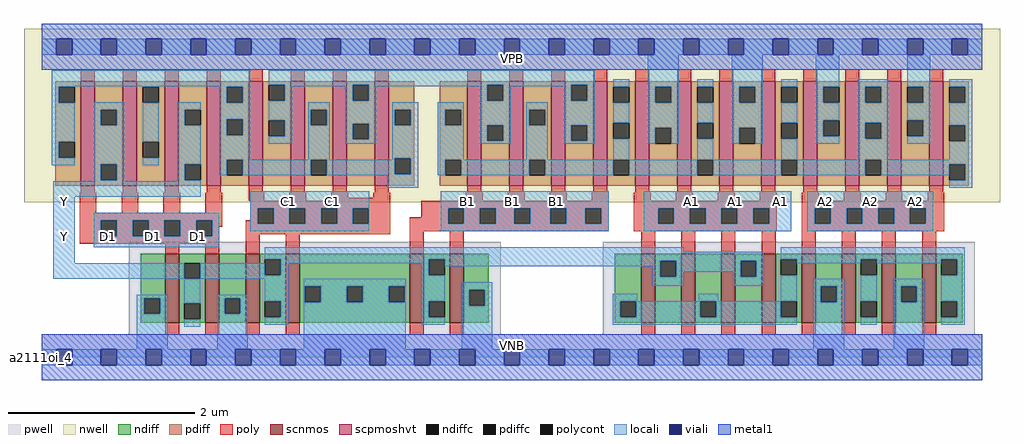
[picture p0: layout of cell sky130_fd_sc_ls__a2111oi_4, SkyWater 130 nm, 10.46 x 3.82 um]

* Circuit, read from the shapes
.subckt sky130_fd_sc_ls__a2111oi_4 A1 A2 B1 C1 D1 VGND VNB VPB VPWR Y
XM1 Y D1 VGND VNB sky130_fd_pr__nfet_01v8 w=0.74 l=0.15 m=2
XM2 Y C1 VGND VNB sky130_fd_pr__nfet_01v8 w=0.74 l=0.15 m=2
XM3 Y B1 VGND VNB sky130_fd_pr__nfet_01v8 w=0.74 l=0.15 m=2
XM4 Y A1 n1 VNB sky130_fd_pr__nfet_01v8 w=0.74 l=0.15 m=4
XM5 VGND A2 n1 VNB sky130_fd_pr__nfet_01v8 w=0.74 l=0.15 m=4
XM6 Y D1 n2 VPB sky130_fd_pr__pfet_01v8_hvt w=1.12 l=0.15 m=4
XM7 n3 C1 n2 VPB sky130_fd_pr__pfet_01v8_hvt w=1.12 l=0.15 m=4
XM8 n3 B1 n4 VPB sky130_fd_pr__pfet_01v8_hvt w=1.12 l=0.15 m=4
XM9 VPWR A1 n4 VPB sky130_fd_pr__pfet_01v8_hvt w=1.12 l=0.15 m=4
XM10 VPWR A2 n4 VPB sky130_fd_pr__pfet_01v8_hvt w=1.12 l=0.15 m=4
.ends

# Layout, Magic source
magic
tech sky130A
magscale 1 2
<< nwell >>
rect -38 332 2054 704
<< pwell >>
rect 186 49 984 248
rect 1202 49 2000 248
rect 0 0 2016 49
<< scnmos >>
rect 265 74 295 222
rect 351 74 381 222
rect 437 74 467 222
rect 523 74 553 222
rect 789 74 819 222
rect 875 74 905 222
rect 1285 74 1315 222
rect 1371 74 1401 222
rect 1457 74 1487 222
rect 1543 74 1573 222
rect 1629 74 1659 222
rect 1715 74 1745 222
rect 1801 74 1831 222
rect 1887 74 1917 222
<< scpmoshvt >>
rect 84 368 114 592
rect 174 368 204 592
rect 264 368 294 592
rect 354 368 384 592
rect 444 368 474 592
rect 534 368 564 592
rect 624 368 654 592
rect 714 368 744 592
rect 912 368 942 592
rect 1002 368 1032 592
rect 1092 368 1122 592
rect 1182 368 1212 592
rect 1272 368 1302 592
rect 1362 368 1392 592
rect 1452 368 1482 592
rect 1542 368 1572 592
rect 1632 368 1662 592
rect 1722 368 1752 592
rect 1812 368 1842 592
rect 1902 368 1932 592
<< ndiff >>
rect 212 127 265 222
rect 212 93 220 127
rect 254 93 265 127
rect 212 74 265 93
rect 295 202 351 222
rect 295 168 306 202
rect 340 168 351 202
rect 295 116 351 168
rect 295 82 306 116
rect 340 82 351 116
rect 295 74 351 82
rect 381 127 437 222
rect 381 93 392 127
rect 426 93 437 127
rect 381 74 437 93
rect 467 210 523 222
rect 467 176 478 210
rect 512 176 523 210
rect 467 120 523 176
rect 467 86 478 120
rect 512 86 523 120
rect 467 74 523 86
rect 553 152 789 222
rect 553 118 564 152
rect 598 118 654 152
rect 688 118 744 152
rect 778 118 789 152
rect 553 74 789 118
rect 819 210 875 222
rect 819 176 830 210
rect 864 176 875 210
rect 819 120 875 176
rect 819 86 830 120
rect 864 86 875 120
rect 819 74 875 86
rect 905 145 958 222
rect 905 111 916 145
rect 950 111 958 145
rect 905 74 958 111
rect 1228 120 1285 222
rect 1228 86 1240 120
rect 1274 86 1285 120
rect 1228 74 1285 86
rect 1315 207 1371 222
rect 1315 173 1326 207
rect 1360 173 1371 207
rect 1315 74 1371 173
rect 1401 120 1457 222
rect 1401 86 1412 120
rect 1446 86 1457 120
rect 1401 74 1457 86
rect 1487 207 1543 222
rect 1487 173 1498 207
rect 1532 173 1543 207
rect 1487 74 1543 173
rect 1573 210 1629 222
rect 1573 176 1584 210
rect 1618 176 1629 210
rect 1573 120 1629 176
rect 1573 86 1584 120
rect 1618 86 1629 120
rect 1573 74 1629 86
rect 1659 152 1715 222
rect 1659 118 1670 152
rect 1704 118 1715 152
rect 1659 74 1715 118
rect 1745 210 1801 222
rect 1745 176 1756 210
rect 1790 176 1801 210
rect 1745 120 1801 176
rect 1745 86 1756 120
rect 1790 86 1801 120
rect 1745 74 1801 86
rect 1831 152 1887 222
rect 1831 118 1842 152
rect 1876 118 1887 152
rect 1831 74 1887 118
rect 1917 210 1974 222
rect 1917 176 1928 210
rect 1962 176 1974 210
rect 1917 120 1974 176
rect 1917 86 1928 120
rect 1962 86 1974 120
rect 1917 74 1974 86
<< pdiff >>
rect 29 580 84 592
rect 29 546 37 580
rect 71 546 84 580
rect 29 462 84 546
rect 29 428 37 462
rect 71 428 84 462
rect 29 368 84 428
rect 114 531 174 592
rect 114 497 127 531
rect 161 497 174 531
rect 114 414 174 497
rect 114 380 127 414
rect 161 380 174 414
rect 114 368 174 380
rect 204 580 264 592
rect 204 546 217 580
rect 251 546 264 580
rect 204 462 264 546
rect 204 428 217 462
rect 251 428 264 462
rect 204 368 264 428
rect 294 531 354 592
rect 294 497 307 531
rect 341 497 354 531
rect 294 414 354 497
rect 294 380 307 414
rect 341 380 354 414
rect 294 368 354 380
rect 384 580 444 592
rect 384 546 397 580
rect 431 546 444 580
rect 384 510 444 546
rect 384 476 397 510
rect 431 476 444 510
rect 384 424 444 476
rect 384 390 397 424
rect 431 390 444 424
rect 384 368 444 390
rect 474 584 534 592
rect 474 550 487 584
rect 521 550 534 584
rect 474 508 534 550
rect 474 474 487 508
rect 521 474 534 508
rect 474 368 534 474
rect 564 531 624 592
rect 564 497 577 531
rect 611 497 624 531
rect 564 424 624 497
rect 564 390 577 424
rect 611 390 624 424
rect 564 368 624 390
rect 654 584 714 592
rect 654 550 667 584
rect 701 550 714 584
rect 654 501 714 550
rect 654 467 667 501
rect 701 467 714 501
rect 654 368 714 467
rect 744 531 799 592
rect 744 497 757 531
rect 791 497 799 531
rect 744 427 799 497
rect 744 393 757 427
rect 791 393 799 427
rect 744 368 799 393
rect 853 531 912 592
rect 853 497 865 531
rect 899 497 912 531
rect 853 424 912 497
rect 853 390 865 424
rect 899 390 912 424
rect 853 368 912 390
rect 942 584 1002 592
rect 942 550 955 584
rect 989 550 1002 584
rect 942 498 1002 550
rect 942 464 955 498
rect 989 464 1002 498
rect 942 368 1002 464
rect 1032 531 1092 592
rect 1032 497 1045 531
rect 1079 497 1092 531
rect 1032 424 1092 497
rect 1032 390 1045 424
rect 1079 390 1092 424
rect 1032 368 1092 390
rect 1122 584 1182 592
rect 1122 550 1135 584
rect 1169 550 1182 584
rect 1122 498 1182 550
rect 1122 464 1135 498
rect 1169 464 1182 498
rect 1122 368 1182 464
rect 1212 580 1272 592
rect 1212 546 1225 580
rect 1259 546 1272 580
rect 1212 503 1272 546
rect 1212 469 1225 503
rect 1259 469 1272 503
rect 1212 424 1272 469
rect 1212 390 1225 424
rect 1259 390 1272 424
rect 1212 368 1272 390
rect 1302 580 1362 592
rect 1302 546 1315 580
rect 1349 546 1362 580
rect 1302 492 1362 546
rect 1302 458 1315 492
rect 1349 458 1362 492
rect 1302 368 1362 458
rect 1392 580 1452 592
rect 1392 546 1405 580
rect 1439 546 1452 580
rect 1392 503 1452 546
rect 1392 469 1405 503
rect 1439 469 1452 503
rect 1392 424 1452 469
rect 1392 390 1405 424
rect 1439 390 1452 424
rect 1392 368 1452 390
rect 1482 580 1542 592
rect 1482 546 1495 580
rect 1529 546 1542 580
rect 1482 492 1542 546
rect 1482 458 1495 492
rect 1529 458 1542 492
rect 1482 368 1542 458
rect 1572 580 1632 592
rect 1572 546 1585 580
rect 1619 546 1632 580
rect 1572 503 1632 546
rect 1572 469 1585 503
rect 1619 469 1632 503
rect 1572 424 1632 469
rect 1572 390 1585 424
rect 1619 390 1632 424
rect 1572 368 1632 390
rect 1662 580 1722 592
rect 1662 546 1675 580
rect 1709 546 1722 580
rect 1662 508 1722 546
rect 1662 474 1675 508
rect 1709 474 1722 508
rect 1662 368 1722 474
rect 1752 580 1812 592
rect 1752 546 1765 580
rect 1799 546 1812 580
rect 1752 503 1812 546
rect 1752 469 1765 503
rect 1799 469 1812 503
rect 1752 424 1812 469
rect 1752 390 1765 424
rect 1799 390 1812 424
rect 1752 368 1812 390
rect 1842 580 1902 592
rect 1842 546 1855 580
rect 1889 546 1902 580
rect 1842 508 1902 546
rect 1842 474 1855 508
rect 1889 474 1902 508
rect 1842 368 1902 474
rect 1932 580 1987 592
rect 1932 546 1945 580
rect 1979 546 1987 580
rect 1932 497 1987 546
rect 1932 463 1945 497
rect 1979 463 1987 497
rect 1932 414 1987 463
rect 1932 380 1945 414
rect 1979 380 1987 414
rect 1932 368 1987 380
<< ndiffc >>
rect 220 93 254 127
rect 306 168 340 202
rect 306 82 340 116
rect 392 93 426 127
rect 478 176 512 210
rect 478 86 512 120
rect 564 118 598 152
rect 654 118 688 152
rect 744 118 778 152
rect 830 176 864 210
rect 830 86 864 120
rect 916 111 950 145
rect 1240 86 1274 120
rect 1326 173 1360 207
rect 1412 86 1446 120
rect 1498 173 1532 207
rect 1584 176 1618 210
rect 1584 86 1618 120
rect 1670 118 1704 152
rect 1756 176 1790 210
rect 1756 86 1790 120
rect 1842 118 1876 152
rect 1928 176 1962 210
rect 1928 86 1962 120
<< pdiffc >>
rect 37 546 71 580
rect 37 428 71 462
rect 127 497 161 531
rect 127 380 161 414
rect 217 546 251 580
rect 217 428 251 462
rect 307 497 341 531
rect 307 380 341 414
rect 397 546 431 580
rect 397 476 431 510
rect 397 390 431 424
rect 487 550 521 584
rect 487 474 521 508
rect 577 497 611 531
rect 577 390 611 424
rect 667 550 701 584
rect 667 467 701 501
rect 757 497 791 531
rect 757 393 791 427
rect 865 497 899 531
rect 865 390 899 424
rect 955 550 989 584
rect 955 464 989 498
rect 1045 497 1079 531
rect 1045 390 1079 424
rect 1135 550 1169 584
rect 1135 464 1169 498
rect 1225 546 1259 580
rect 1225 469 1259 503
rect 1225 390 1259 424
rect 1315 546 1349 580
rect 1315 458 1349 492
rect 1405 546 1439 580
rect 1405 469 1439 503
rect 1405 390 1439 424
rect 1495 546 1529 580
rect 1495 458 1529 492
rect 1585 546 1619 580
rect 1585 469 1619 503
rect 1585 390 1619 424
rect 1675 546 1709 580
rect 1675 474 1709 508
rect 1765 546 1799 580
rect 1765 469 1799 503
rect 1765 390 1799 424
rect 1855 546 1889 580
rect 1855 474 1889 508
rect 1945 546 1979 580
rect 1945 463 1979 497
rect 1945 380 1979 414
<< poly >>
rect 84 592 114 618
rect 174 592 204 618
rect 264 592 294 618
rect 354 592 384 618
rect 444 592 474 618
rect 534 592 564 618
rect 624 592 654 618
rect 714 592 744 618
rect 912 592 942 618
rect 1002 592 1032 618
rect 1092 592 1122 618
rect 1182 592 1212 618
rect 1272 592 1302 618
rect 1362 592 1392 618
rect 1452 592 1482 618
rect 1542 592 1572 618
rect 1632 592 1662 618
rect 1722 592 1752 618
rect 1812 592 1842 618
rect 1902 592 1932 618
rect 84 353 114 368
rect 174 353 204 368
rect 264 353 294 368
rect 354 353 384 368
rect 444 353 474 368
rect 534 353 564 368
rect 624 353 654 368
rect 714 353 744 368
rect 912 353 942 368
rect 1002 353 1032 368
rect 1092 353 1122 368
rect 1182 353 1212 368
rect 1272 353 1302 368
rect 1362 353 1392 368
rect 1452 353 1482 368
rect 1542 353 1572 368
rect 1632 353 1662 368
rect 1722 353 1752 368
rect 1812 353 1842 368
rect 1902 353 1932 368
rect 81 310 117 353
rect 171 310 207 353
rect 261 310 297 353
rect 351 310 387 353
rect 444 336 477 353
rect 531 336 567 353
rect 621 342 657 353
rect 711 342 747 353
rect 621 336 747 342
rect 909 336 945 353
rect 999 336 1035 353
rect 1089 336 1125 353
rect 1179 336 1215 353
rect 81 294 387 310
rect 447 320 747 336
rect 447 294 463 320
rect 81 260 127 294
rect 161 260 195 294
rect 229 260 263 294
rect 297 260 331 294
rect 365 280 387 294
rect 437 286 463 294
rect 497 286 531 320
rect 565 286 599 320
rect 633 286 667 320
rect 701 286 747 320
rect 814 320 1215 336
rect 814 300 871 320
rect 365 260 381 280
rect 81 244 381 260
rect 265 222 295 244
rect 351 222 381 244
rect 437 264 747 286
rect 789 286 871 300
rect 905 286 939 320
rect 973 286 1013 320
rect 1047 286 1090 320
rect 1124 286 1165 320
rect 1199 286 1215 320
rect 789 270 1215 286
rect 1269 336 1305 353
rect 1359 336 1395 353
rect 1449 336 1485 353
rect 1539 336 1575 353
rect 1269 320 1575 336
rect 1269 286 1321 320
rect 1355 286 1389 320
rect 1423 286 1457 320
rect 1491 286 1525 320
rect 1559 286 1575 320
rect 1269 270 1575 286
rect 1629 336 1665 353
rect 1719 336 1755 353
rect 1809 336 1845 353
rect 1899 336 1935 353
rect 1629 320 1935 336
rect 1629 286 1657 320
rect 1691 286 1725 320
rect 1759 286 1793 320
rect 1827 286 1861 320
rect 1895 286 1935 320
rect 1629 270 1935 286
rect 437 222 467 264
rect 523 222 553 264
rect 789 222 819 270
rect 875 222 905 270
rect 1285 222 1315 270
rect 1371 222 1401 270
rect 1457 222 1487 270
rect 1543 222 1573 270
rect 1629 222 1659 270
rect 1715 222 1745 270
rect 1801 222 1831 270
rect 1887 222 1917 270
rect 265 48 295 74
rect 351 48 381 74
rect 437 48 467 74
rect 523 48 553 74
rect 789 48 819 74
rect 875 48 905 74
rect 1285 48 1315 74
rect 1371 48 1401 74
rect 1457 48 1487 74
rect 1543 48 1573 74
rect 1629 48 1659 74
rect 1715 48 1745 74
rect 1801 48 1831 74
rect 1887 48 1917 74
<< polycont >>
rect 127 260 161 294
rect 195 260 229 294
rect 263 260 297 294
rect 331 260 365 294
rect 463 286 497 320
rect 531 286 565 320
rect 599 286 633 320
rect 667 286 701 320
rect 871 286 905 320
rect 939 286 973 320
rect 1013 286 1047 320
rect 1090 286 1124 320
rect 1165 286 1199 320
rect 1321 286 1355 320
rect 1389 286 1423 320
rect 1457 286 1491 320
rect 1525 286 1559 320
rect 1657 286 1691 320
rect 1725 286 1759 320
rect 1793 286 1827 320
rect 1861 286 1895 320
<< locali >>
rect 0 649 31 683
rect 65 649 127 683
rect 161 649 223 683
rect 257 649 319 683
rect 353 649 415 683
rect 449 649 511 683
rect 545 649 607 683
rect 641 649 703 683
rect 737 649 799 683
rect 833 649 895 683
rect 929 649 991 683
rect 1025 649 1087 683
rect 1121 649 1183 683
rect 1217 649 1279 683
rect 1313 649 1375 683
rect 1409 649 1471 683
rect 1505 649 1567 683
rect 1601 649 1663 683
rect 1697 649 1759 683
rect 1793 649 1855 683
rect 1889 649 1951 683
rect 1985 649 2016 683
rect 21 581 447 615
rect 21 580 71 581
rect 21 546 37 580
rect 217 580 251 581
rect 21 462 71 546
rect 21 428 37 462
rect 21 412 71 428
rect 111 531 177 547
rect 111 497 127 531
rect 161 497 177 531
rect 111 414 177 497
rect 111 380 127 414
rect 161 380 177 414
rect 381 580 447 581
rect 217 462 251 546
rect 217 412 251 428
rect 291 531 341 547
rect 291 497 307 531
rect 291 414 341 497
rect 111 378 177 380
rect 291 380 307 414
rect 381 546 397 580
rect 431 546 447 580
rect 381 510 447 546
rect 381 476 397 510
rect 431 476 447 510
rect 381 424 447 476
rect 487 584 1185 615
rect 521 581 667 584
rect 521 550 537 581
rect 487 508 537 550
rect 651 550 667 581
rect 701 581 955 584
rect 701 550 717 581
rect 521 474 537 508
rect 487 458 537 474
rect 571 531 617 547
rect 571 497 577 531
rect 611 497 617 531
rect 571 424 617 497
rect 651 501 717 550
rect 939 550 955 581
rect 989 581 1135 584
rect 989 550 1005 581
rect 651 467 667 501
rect 701 467 717 501
rect 651 458 717 467
rect 751 531 807 547
rect 751 497 757 531
rect 791 497 807 531
rect 751 427 807 497
rect 751 424 757 427
rect 381 390 397 424
rect 431 390 577 424
rect 611 393 757 424
rect 791 393 807 427
rect 611 390 807 393
rect 849 531 905 547
rect 849 497 865 531
rect 899 497 905 531
rect 849 424 905 497
rect 939 498 1005 550
rect 1119 550 1135 581
rect 1169 550 1185 584
rect 939 464 955 498
rect 989 464 1005 498
rect 939 458 1005 464
rect 1039 531 1085 547
rect 1039 497 1045 531
rect 1079 497 1085 531
rect 1039 424 1085 497
rect 1119 498 1185 550
rect 1119 464 1135 498
rect 1169 464 1185 498
rect 1119 458 1185 464
rect 1225 580 1259 596
rect 1225 503 1259 546
rect 1225 424 1259 469
rect 1299 580 1365 649
rect 1299 546 1315 580
rect 1349 546 1365 580
rect 1299 492 1365 546
rect 1299 458 1315 492
rect 1349 458 1365 492
rect 1405 580 1439 596
rect 1405 503 1439 546
rect 1405 424 1439 469
rect 1479 580 1545 649
rect 1479 546 1495 580
rect 1529 546 1545 580
rect 1479 492 1545 546
rect 1479 458 1495 492
rect 1529 458 1545 492
rect 1585 580 1619 596
rect 1585 503 1619 546
rect 1585 424 1619 469
rect 1659 580 1709 649
rect 1659 546 1675 580
rect 1659 508 1709 546
rect 1659 474 1675 508
rect 1659 458 1709 474
rect 1749 580 1815 596
rect 1749 546 1765 580
rect 1799 546 1815 580
rect 1749 503 1815 546
rect 1749 469 1765 503
rect 1799 469 1815 503
rect 1749 424 1815 469
rect 1855 580 1905 649
rect 1889 546 1905 580
rect 1855 508 1905 546
rect 1889 474 1905 508
rect 1855 458 1905 474
rect 1945 580 1995 596
rect 1979 546 1995 580
rect 1945 497 1995 546
rect 1979 463 1995 497
rect 1945 424 1995 463
rect 849 390 865 424
rect 899 390 1045 424
rect 1079 390 1225 424
rect 1259 390 1405 424
rect 1439 390 1585 424
rect 1619 390 1765 424
rect 1799 414 1995 424
rect 1799 390 1945 414
rect 291 378 341 380
rect 25 344 341 378
rect 741 364 807 390
rect 1979 380 1995 414
rect 1945 364 1995 380
rect 25 202 71 344
rect 447 320 702 356
rect 111 294 381 310
rect 111 260 127 294
rect 161 260 195 294
rect 229 260 263 294
rect 297 260 331 294
rect 365 260 381 294
rect 447 286 463 320
rect 497 286 531 320
rect 565 286 599 320
rect 633 286 667 320
rect 701 286 702 320
rect 447 270 702 286
rect 855 320 1215 356
rect 855 286 871 320
rect 905 286 939 320
rect 973 286 1013 320
rect 1047 286 1090 320
rect 1124 286 1165 320
rect 1199 286 1215 320
rect 855 270 1215 286
rect 1290 320 1607 356
rect 1290 286 1321 320
rect 1355 286 1389 320
rect 1423 286 1457 320
rect 1491 286 1525 320
rect 1559 286 1607 320
rect 1290 270 1607 286
rect 1641 320 1911 356
rect 1641 286 1657 320
rect 1691 286 1725 320
rect 1759 286 1793 320
rect 1827 286 1861 320
rect 1895 286 1911 320
rect 1641 270 1911 286
rect 111 236 381 260
rect 478 226 1376 236
rect 478 210 1548 226
rect 25 168 306 202
rect 340 176 478 202
rect 512 202 830 210
rect 512 176 528 202
rect 340 168 528 176
rect 814 176 830 202
rect 864 207 1548 210
rect 864 195 1326 207
rect 204 127 270 134
rect 204 93 220 127
rect 254 93 270 127
rect 204 17 270 93
rect 306 116 340 168
rect 306 66 340 82
rect 376 127 442 134
rect 376 93 392 127
rect 426 93 442 127
rect 376 17 442 93
rect 478 120 528 168
rect 512 86 528 120
rect 478 70 528 86
rect 562 152 780 168
rect 562 118 564 152
rect 598 118 654 152
rect 688 118 744 152
rect 778 118 780 152
rect 562 17 780 118
rect 814 120 864 176
rect 1310 173 1326 195
rect 1360 183 1498 207
rect 1360 173 1376 183
rect 814 86 830 120
rect 814 70 864 86
rect 900 145 966 161
rect 1310 154 1376 173
rect 1482 173 1498 183
rect 1532 173 1548 207
rect 1482 154 1548 173
rect 1584 210 1978 236
rect 1618 202 1756 210
rect 900 111 916 145
rect 950 111 966 145
rect 900 17 966 111
rect 1224 120 1276 136
rect 1408 120 1450 136
rect 1584 120 1618 176
rect 1790 202 1928 210
rect 1224 86 1240 120
rect 1274 86 1412 120
rect 1446 86 1584 120
rect 1224 70 1618 86
rect 1654 152 1720 168
rect 1654 118 1670 152
rect 1704 118 1720 152
rect 1654 17 1720 118
rect 1756 120 1790 176
rect 1962 176 1978 210
rect 1756 70 1790 86
rect 1826 152 1892 168
rect 1826 118 1842 152
rect 1876 118 1892 152
rect 1826 17 1892 118
rect 1928 120 1978 176
rect 1962 86 1978 120
rect 1928 70 1978 86
rect 0 -17 31 17
rect 65 -17 127 17
rect 161 -17 223 17
rect 257 -17 319 17
rect 353 -17 415 17
rect 449 -17 511 17
rect 545 -17 607 17
rect 641 -17 703 17
rect 737 -17 799 17
rect 833 -17 895 17
rect 929 -17 991 17
rect 1025 -17 1087 17
rect 1121 -17 1183 17
rect 1217 -17 1279 17
rect 1313 -17 1375 17
rect 1409 -17 1471 17
rect 1505 -17 1567 17
rect 1601 -17 1663 17
rect 1697 -17 1759 17
rect 1793 -17 1855 17
rect 1889 -17 1951 17
rect 1985 -17 2016 17
<< viali >>
rect 31 649 65 683
rect 127 649 161 683
rect 223 649 257 683
rect 319 649 353 683
rect 415 649 449 683
rect 511 649 545 683
rect 607 649 641 683
rect 703 649 737 683
rect 799 649 833 683
rect 895 649 929 683
rect 991 649 1025 683
rect 1087 649 1121 683
rect 1183 649 1217 683
rect 1279 649 1313 683
rect 1375 649 1409 683
rect 1471 649 1505 683
rect 1567 649 1601 683
rect 1663 649 1697 683
rect 1759 649 1793 683
rect 1855 649 1889 683
rect 1951 649 1985 683
rect 31 -17 65 17
rect 127 -17 161 17
rect 223 -17 257 17
rect 319 -17 353 17
rect 415 -17 449 17
rect 511 -17 545 17
rect 607 -17 641 17
rect 703 -17 737 17
rect 799 -17 833 17
rect 895 -17 929 17
rect 991 -17 1025 17
rect 1087 -17 1121 17
rect 1183 -17 1217 17
rect 1279 -17 1313 17
rect 1375 -17 1409 17
rect 1471 -17 1505 17
rect 1567 -17 1601 17
rect 1663 -17 1697 17
rect 1759 -17 1793 17
rect 1855 -17 1889 17
rect 1951 -17 1985 17
<< metal1 >>
rect 0 683 2016 715
rect 0 649 31 683
rect 65 649 127 683
rect 161 649 223 683
rect 257 649 319 683
rect 353 649 415 683
rect 449 649 511 683
rect 545 649 607 683
rect 641 649 703 683
rect 737 649 799 683
rect 833 649 895 683
rect 929 649 991 683
rect 1025 649 1087 683
rect 1121 649 1183 683
rect 1217 649 1279 683
rect 1313 649 1375 683
rect 1409 649 1471 683
rect 1505 649 1567 683
rect 1601 649 1663 683
rect 1697 649 1759 683
rect 1793 649 1855 683
rect 1889 649 1951 683
rect 1985 649 2016 683
rect 0 617 2016 649
rect 0 17 2016 49
rect 0 -17 31 17
rect 65 -17 127 17
rect 161 -17 223 17
rect 257 -17 319 17
rect 353 -17 415 17
rect 449 -17 511 17
rect 545 -17 607 17
rect 641 -17 703 17
rect 737 -17 799 17
rect 833 -17 895 17
rect 929 -17 991 17
rect 1025 -17 1087 17
rect 1121 -17 1183 17
rect 1217 -17 1279 17
rect 1313 -17 1375 17
rect 1409 -17 1471 17
rect 1505 -17 1567 17
rect 1601 -17 1663 17
rect 1697 -17 1759 17
rect 1793 -17 1855 17
rect 1889 -17 1951 17
rect 1985 -17 2016 17
rect 0 -49 2016 -17
<< labels >>
rlabel comment s 0 0 0 0 4 a2111oi_4
flabel pwell s 0 0 2016 49 0 FreeSans 200 0 0 0 VNB
port 7 nsew ground bidirectional
flabel nwell s 0 617 2016 666 0 FreeSans 200 0 0 0 VPB
port 8 nsew power bidirectional
flabel metal1 s 0 617 2016 666 0 FreeSans 340 0 0 0 VPWR
port 9 nsew power bidirectional abutment
flabel metal1 s 0 0 2016 49 0 FreeSans 340 0 0 0 VGND
port 6 nsew ground bidirectional abutment
flabel locali s 31 242 65 276 0 FreeSans 340 0 0 0 Y
port 10 nsew signal output
flabel locali s 31 316 65 350 0 FreeSans 340 0 0 0 Y
port 10 nsew signal output
flabel locali s 127 242 161 276 0 FreeSans 340 0 0 0 D1
port 5 nsew signal input
flabel locali s 223 242 257 276 0 FreeSans 340 0 0 0 D1
port 5 nsew signal input
flabel locali s 319 242 353 276 0 FreeSans 340 0 0 0 D1
port 5 nsew signal input
flabel locali s 511 316 545 350 0 FreeSans 340 0 0 0 C1
port 4 nsew signal input
flabel locali s 607 316 641 350 0 FreeSans 340 0 0 0 C1
port 4 nsew signal input
flabel locali s 895 316 929 350 0 FreeSans 340 0 0 0 B1
port 3 nsew signal input
flabel locali s 991 316 1025 350 0 FreeSans 340 0 0 0 B1
port 3 nsew signal input
flabel locali s 1087 316 1121 350 0 FreeSans 340 0 0 0 B1
port 3 nsew signal input
flabel locali s 1663 316 1697 350 0 FreeSans 340 0 0 0 A2
port 2 nsew signal input
flabel locali s 1759 316 1793 350 0 FreeSans 340 0 0 0 A2
port 2 nsew signal input
flabel locali s 1855 316 1889 350 0 FreeSans 340 0 0 0 A2
port 2 nsew signal input
flabel locali s 1375 316 1409 350 0 FreeSans 340 0 0 0 A1
port 1 nsew signal input
flabel locali s 1471 316 1505 350 0 FreeSans 340 0 0 0 A1
port 1 nsew signal input
flabel locali s 1567 316 1601 350 0 FreeSans 340 0 0 0 A1
port 1 nsew signal input
<< properties >>
string LEFsite unit
string LEFclass CORE
string FIXED_BBOX 0 0 2016 666
string GDS_FILE $PDKPATH/libs.ref/sky130_fd_sc_ls/gds/sky130_fd_sc_ls.gds
string LEFsymmetry X Y
string GDS_END 2699382
string GDS_START 2683270
<< end >>
